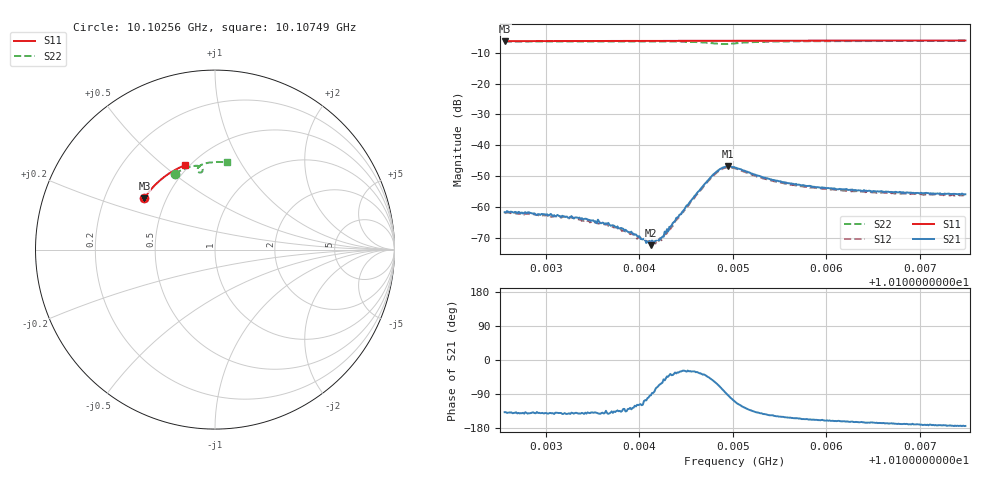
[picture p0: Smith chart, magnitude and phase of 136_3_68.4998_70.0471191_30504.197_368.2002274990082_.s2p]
#  HZ  S  RI  R  50.00
! Rohde & Schwarz Vector Network Analyzer
! Rohde-Schwarz,ZNB20-2Port,1311601062101988,3.16
! Created: UTC 3/20/2024, 5:09:50 PM
! freq[Hz]  re:S11  im:S11  re:S21  im:S21  re:S12  im:S12  re:S22  im:S22
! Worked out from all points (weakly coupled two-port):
!   401 points, 10.10256 GHz to 10.10749 GHz, reference 50 ohm
!   highest |S21| = -46.81 dB at 10.10495 GHz (marker M1); lowest = -72.4 dB at 10.10412 GHz (marker M2)
!   lowest |S11| = -6.3 dB at 10.10256 GHz (marker M3), VSWR 2.90, Z = 18.9 + j14.2 ohm
!   |S11| at or under -10 dB: nowhere
!   |S22| runs from -7.2 to -6.2 dB; largest |S21 - S12| = 0.00045
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1.0102558e10  -0.3931 0.2868  -0.000612 -0.000557  -0.000553 -0.000573  -0.2253 0.4226
1.0102805e10  -0.3847 0.2992  -0.000642 -0.000512  -0.000548 -0.00055  -0.2113 0.4306
1.0102916e10  -0.3807 0.3047  -0.000589 -0.000496  -0.000533 -0.000533  -0.2047 0.434
1.0103285e10  -0.3673 0.3225  -0.000525 -0.000442  -0.000469 -0.000476  -0.1825 0.4446
1.0103384e10  -0.3636 0.3272  -0.000505 -0.000431  -0.000425 -0.000422  -0.1764 0.4475
1.0103482e10  -0.3597 0.3318  -0.000454 -0.000404  -0.000423 -0.000391  -0.1702 0.45
1.0103741e10  -0.3493 0.3437  -0.000355 -0.000328  -0.00031 -0.000354  -0.1535 0.4566
1.0103938e10  -0.3413 0.3524  -0.000217 -0.000301  -0.000203 -0.000296  -0.14 0.4608
1.0104098e10  -0.3345 0.3594  -4.17e-05 -0.000264  -2.04e-05 -0.000281  -0.1284 0.4639
1.0104123e10  -0.3336 0.3605  -1.41e-05 -0.000241  1.86e-05 -0.000233  -0.1266 0.4644
1.0104148e10  -0.3323 0.3616  1.46e-05 -0.000269  5.02e-05 -0.000257  -0.1247 0.4646
1.0104209e10  -0.3298 0.3644  0.000116 -0.000263  0.000136 -0.000259  -0.1198 0.4657
1.0104258e10  -0.3276 0.3664  0.000209 -0.000258  0.000235 -0.000246  -0.1158 0.4663
1.0104529e10  -0.3157 0.3776  0.000995 -0.000574  0.001 -0.000426  -0.0907 0.4659
1.0104776e10  -0.3043 0.3873  0.002 -0.00253  0.00213 -0.00221  -0.0686 0.4458
1.0104862e10  -0.3004 0.3906  0.00135 -0.00391  0.00163 -0.0036  -0.0733 0.4325
1.0104948e10  -0.2966 0.394  -0.000247 -0.00456  0.000137 -0.00437  -0.0874 0.4298
1.0105022e10  -0.2932 0.3968  -0.00148 -0.00413  -0.00106 -0.0041  -0.0958 0.4378
1.0105466e10  -0.2718 0.4133  -0.00229 -0.0014  -0.00207 -0.00153  -0.0711 0.4747
1.0105848e10  -0.2527 0.4263  -0.00199 -0.000817  -0.00183 -0.000977  -0.0425 0.4829
1.0106673e10  -0.2095 0.4512  -0.00171 -0.000379  -0.00159 -0.000518  0.0141 0.4885
1.0107486e10  -0.1646 0.4713  -0.00161 -0.000167  -0.00152 -0.000291  0.0671 0.4862
